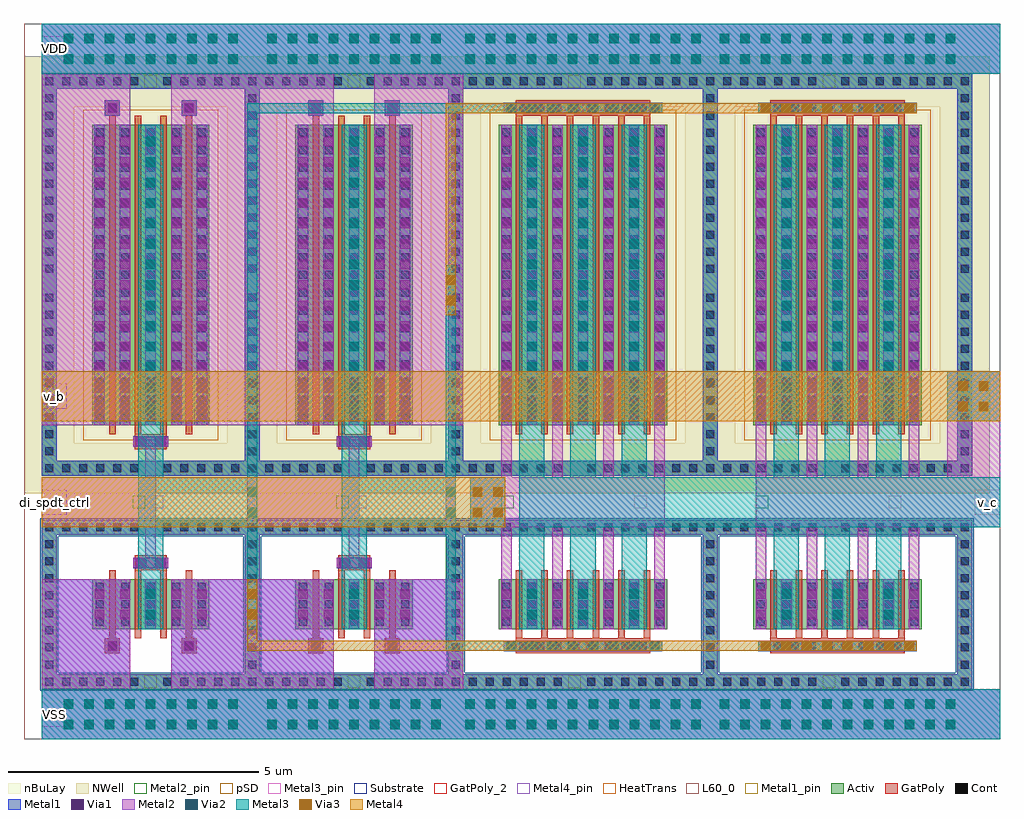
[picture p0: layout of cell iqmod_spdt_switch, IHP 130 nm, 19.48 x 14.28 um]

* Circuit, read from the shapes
.subckt iqmod_spdt_switch VDD VSS di_spdt_ctrl v_a v_b v_c
XM1 VSS VSS VSS VSS sg13_lv_nmos w=1u l=0.13u m=4
XM2 spdt_switch_tg_2/di_tg_ctrl di_spdt_ctrl VSS VSS sg13_lv_nmos w=1u l=0.13u m=2
XM3 spdt_switch_tg_1/di_tg_ctrl spdt_switch_tg_2/di_tg_ctrl VSS VSS sg13_lv_nmos w=1u l=0.13u m=2
XM4 v_c spdt_switch_tg_1/di_tg_ctrl v_a VSS sg13_lv_nmos w=1u l=0.13u m=6
XM5 v_c spdt_switch_tg_2/di_tg_ctrl v_b VSS sg13_lv_nmos w=1u l=0.13u m=6
XM6 VDD VDD VDD VDD sg13_lv_pmos w=6u l=0.13u m=4
XM7 spdt_switch_tg_2/di_tg_ctrl di_spdt_ctrl VDD VDD sg13_lv_pmos w=6u l=0.13u m=2
XM8 spdt_switch_tg_1/di_tg_ctrl spdt_switch_tg_2/di_tg_ctrl VDD VDD sg13_lv_pmos w=6u l=0.13u m=2
XM9 v_c spdt_switch_tg_2/di_tg_ctrl v_a VDD sg13_lv_pmos w=6u l=0.13u m=6
XM10 v_c spdt_switch_tg_1/di_tg_ctrl v_b VDD sg13_lv_pmos w=6u l=0.13u m=6
.ends

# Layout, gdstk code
from math import pi, radians
import gdstk
lib = gdstk.Library(unit=1e-6, precision=5e-09)
def R(c, l, rs):  # rectangles x0, y0, x1, y1
    for r in rs: c.add(gdstk.rectangle(r[:2], r[2:], *l))
def A(c, l, x, y, w, h, nx, ny, dx, dy):  # array of equal rectangles
    R(c, l, [(x+i*dx, y+j*dy, x+i*dx+w, y+j*dy+h) for i in range(nx) for j in range(ny)])
def P(c, l, *ps):  # polygons
    for p in ps: c.add(gdstk.Polygon(p, *l))
Activ = (1, 0)
GatPoly = (5, 0)
GatPoly_2 = (5, 2)
Cont = (6, 0)
Metal1 = (8, 0)
Metal1_pin = (8, 2)
Metal2 = (10, 0)
Metal2_pin = (10, 2)
pSD = (14, 0)
Via1 = (19, 0)
Via2 = (29, 0)
Metal3 = (30, 0)
Metal3_pin = (30, 2)
NWell = (31, 0)
nBuLay = (32, 0)
Substrate = (40, 0)
Via3 = (49, 0)
Metal4 = (50, 0)
Metal4_pin = (50, 2)
HeatTrans = (51, 0)
L60_0 = (60, 0)

nmos_54 = lib.new_cell('nmos$54')
A(nmos_54, Activ, 0, 0, 0.3, 0.3, 5, 1, 0.51, 0)
R(nmos_54, Activ, [(-1.01,-0.89,-0.71,1.89), (3.05,-0.89,3.35,1.89), (0,0,2.34,1), (-1.01,1.89,3.35,2.19)])
P(nmos_54, Activ, [(-1.01,-1.19),(-1.01,1.89),(-0.71,1.89),(-0.71,-0.89),(3.05,-0.89),(3.05,1.89),(-1.01,1.89),(-1.01,2.19),(3.35,2.19),(3.35,-1.19)])
A(nmos_54, GatPoly, 0.34, -0.18, 0.13, 1.36, 4, 1, 0.51, 0)
R(nmos_54, GatPoly_2, [(0.34,-0.18,0.47,1.18)])
A(nmos_54, Cont, -0.94, -1.12, 0.16, 0.16, 6, 2, 0.34, 3.08)
A(nmos_54, Cont, 1.42, -1.12, 0.16, 0.16, 6, 2, 0.34, 3.08)
A(nmos_54, Cont, -0.94, -0.78, 0.16, 0.16, 1, 4, 0, 0.34)
A(nmos_54, Cont, 3.12, -0.78, 0.16, 0.16, 1, 4, 0, 0.34)
A(nmos_54, Cont, 0.07, 0.07, 0.16, 0.16, 5, 3, 0.51, 0.35)
A(nmos_54, Cont, -0.94, 0.6, 0.16, 0.16, 1, 4, 0, 0.34)
A(nmos_54, Cont, 3.12, 0.6, 0.16, 0.16, 1, 4, 0, 0.34)
A(nmos_54, Metal1, 0.07, 0, 0.16, 1, 5, 1, 0.51, 0)
R(nmos_54, Metal1, [(-1.01,-1.19,3.35,-0.89), (-1.01,-0.89,-0.71,1.89), (3.05,-0.89,3.35,1.89), (-1.01,1.89,3.35,2.19)])
R(nmos_54, Metal1_pin, [(0.07,0,0.23,1), (0.58,0,0.74,1)])
R(nmos_54, pSD, [(-1.04,-0.86,-0.68,1.86), (3.02,-0.86,3.38,1.86), (-1.04,1.86,3.38,2.22)])
P(nmos_54, pSD, [(-1.04,-1.22),(-1.04,1.86),(-0.68,1.86),(-0.68,-0.86),(3.02,-0.86),(3.02,1.86),(-1.04,1.86),(-1.04,2.22),(3.38,2.22),(3.38,-1.22)])
R(nmos_54, Substrate, [(-1.04,-0.86,-0.68,1.86), (3.02,-0.86,3.38,1.86), (-1.04,1.86,3.38,2.22)])
P(nmos_54, Substrate, [(-1.04,-1.22),(-1.04,1.86),(-0.68,1.86),(-0.68,-0.86),(3.02,-0.86),(3.02,1.86),(-1.04,1.86),(-1.04,2.22),(3.38,2.22),(3.38,-1.22)])
A(nmos_54, HeatTrans, 0.34, -0.18, 0.13, 1.36, 4, 1, 0.51, 0)
nmos_54.add(gdstk.Label('nmos', (0.405,0.5), layer=63, texttype=0))
nmos_54.add(gdstk.Label('sub!', (1.17,-1.04), layer=63, texttype=0))
nmos_54.add(gdstk.Label('nmos', (0.405,0.5), layer=51, texttype=0))
nmos_54.add(gdstk.Label('nmos', (0.915,0.5), layer=51, texttype=0))
nmos_54.add(gdstk.Label('nmos', (1.425,0.5), layer=51, texttype=0))
nmos_54.add(gdstk.Label('nmos', (1.935,0.5), layer=51, texttype=0))

pmos_54 = lib.new_cell('pmos$54')
A(pmos_54, Activ, 0, 0, 0.3, 0.3, 5, 1, 0.51, 0)
R(pmos_54, Activ, [(-1.01,-0.71,-0.71,6.71), (3.05,-0.71,3.35,6.71), (0,0,2.34,6), (-1.01,6.71,3.35,7.01)])
P(pmos_54, Activ, [(-1.01,-1.01),(-1.01,6.71),(-0.71,6.71),(-0.71,-0.71),(3.05,-0.71),(3.05,6.71),(-1.01,6.71),(-1.01,7.01),(3.35,7.01),(3.35,-1.01)])
A(pmos_54, GatPoly, 0.34, -0.18, 0.13, 6.36, 4, 1, 0.51, 0)
R(pmos_54, GatPoly, [(0.34,-0.18,0.47,6.18)])
A(pmos_54, Cont, -0.94, -0.94, 0.16, 0.16, 6, 2, 0.34, 7.72)
A(pmos_54, Cont, 1.42, -0.94, 0.16, 0.16, 6, 2, 0.34, 7.72)
A(pmos_54, Cont, -0.94, -0.6, 0.16, 0.16, 1, 10, 0, 0.34)
A(pmos_54, Cont, 3.12, -0.6, 0.16, 0.16, 1, 10, 0, 0.34)
A(pmos_54, Cont, 0.07, 0.07, 0.16, 0.16, 5, 4, 0.51, 0.355)
A(pmos_54, Cont, 0.07, 1.495, 0.16, 0.16, 5, 4, 0.51, 0.355)
A(pmos_54, Cont, 0.07, 2.92, 0.16, 0.16, 5, 4, 0.51, 0.355)
A(pmos_54, Cont, -0.94, 3.04, 0.16, 0.16, 1, 11, 0, 0.34)
A(pmos_54, Cont, 3.12, 3.04, 0.16, 0.16, 1, 11, 0, 0.34)
A(pmos_54, Cont, 0.07, 4.345, 0.16, 0.16, 5, 4, 0.51, 0.355)
A(pmos_54, Cont, 0.07, 5.77, 0.16, 0.16, 5, 1, 0.51, 0)
A(pmos_54, Metal1, 0.58, 0, 0.16, 6, 4, 1, 0.51, 0)
R(pmos_54, Metal1, [(-1.01,-1.01,3.35,-0.71), (-1.01,-0.71,-0.71,6.71), (3.05,-0.71,3.35,6.71), (0.07,0,0.23,6), (0.07,0,0.23,6), (0.58,0,0.74,6), (-1.01,6.71,3.35,7.01)])
R(pmos_54, pSD, [(-0.18,-0.3,2.52,6.3)])
R(pmos_54, NWell, [(-1.36,-1.36,3.7,7.36), (-0.31,-0.31,2.65,6.31)])
R(pmos_54, nBuLay, [(-1.36,-0.36,-0.36,6.36), (2.7,-0.36,3.7,6.36), (-1.36,6.36,3.7,7.36)])
P(pmos_54, nBuLay, [(-1.36,-1.36),(-1.36,6.36),(-0.36,6.36),(-0.36,-0.36),(2.7,-0.36),(2.7,6.36),(-1.36,6.36),(-1.36,7.36),(3.7,7.36),(3.7,-1.36)])
R(pmos_54, Substrate, [(2.04,0,2.34,0.3)])
A(pmos_54, HeatTrans, 0.34, -0.18, 0.13, 6.36, 4, 1, 0.51, 0)
pmos_54.add(gdstk.Label('pmos', (0.405,3), layer=63, texttype=0))
pmos_54.add(gdstk.Label('well', (1.17,-0.86), layer=63, texttype=0))
pmos_54.add(gdstk.Label('pmos', (0.405,3), layer=51, texttype=0))
pmos_54.add(gdstk.Label('pmos', (0.915,3), layer=51, texttype=0))
pmos_54.add(gdstk.Label('pmos', (1.425,3), layer=51, texttype=0))
pmos_54.add(gdstk.Label('pmos', (1.935,3), layer=51, texttype=0))

via_stack_478 = lib.new_cell('via_stack$478')
R(via_stack_478, GatPoly, [(-0.32,-0.15,0.32,0.15)])
R(via_stack_478, Cont, [(-0.25,-0.08,-0.09,0.08), (0.09,-0.08,0.25,0.08)])
R(via_stack_478, Metal1, [(-0.35,-0.105,0.35,0.105)])
R(via_stack_478, Metal2, [(-0.35,-0.1,0.35,0.1)])
R(via_stack_478, Via1, [(-0.3,-0.095,-0.11,0.095), (0.11,-0.095,0.3,0.095)])

via_stack_479 = lib.new_cell('via_stack$479')
R(via_stack_479, GatPoly, [(-0.15,-0.15,0.15,0.15)])
R(via_stack_479, Cont, [(-0.08,-0.08,0.08,0.08)])
R(via_stack_479, Metal1, [(-0.145,-0.105,0.145,0.105)])
R(via_stack_479, Metal2, [(-0.145,-0.1,0.145,0.1)])
R(via_stack_479, Via1, [(-0.095,-0.095,0.095,0.095)])

via_stack_480 = lib.new_cell('via_stack$480')
R(via_stack_480, Metal1, [(-0.105,-0.35,0.105,0.35)])
R(via_stack_480, Metal2, [(-0.1,-0.35,0.1,0.35)])
R(via_stack_480, Via1, [(-0.095,-0.3,0.095,-0.11), (-0.095,0.11,0.095,0.3)])
R(via_stack_480, Via2, [(-0.095,-0.3,0.095,-0.11), (-0.095,0.11,0.095,0.3)])
R(via_stack_480, Metal3, [(-0.1,-0.35,0.1,0.35)])

via_stack_481 = lib.new_cell('via_stack$481')
R(via_stack_481, Metal1, [(-0.105,-2.81,0.105,2.81)])
R(via_stack_481, Metal2, [(-0.1,-2.81,0.1,2.81)])
A(via_stack_481, Via1, -0.095, -2.76, 0.19, 0.19, 1, 14, 0, 0.41)
A(via_stack_481, Via2, -0.095, -2.76, 0.19, 0.19, 1, 14, 0, 0.41)
R(via_stack_481, Metal3, [(-0.1,-2.81,0.1,2.81)])

via_stack_482 = lib.new_cell('via_stack$482')
R(via_stack_482, Metal1, [(-1.785,-0.31,1.785,0.31)])
R(via_stack_482, Metal2, [(-1.785,-0.305,1.785,0.305)])
A(via_stack_482, Via1, -1.735, -0.3, 0.19, 0.19, 9, 2, 0.41, 0.41)
A(via_stack_482, Via2, -1.735, -0.3, 0.19, 0.19, 9, 2, 0.41, 0.41)
R(via_stack_482, Metal3, [(-1.785,-0.305,1.785,0.305)])

via_stack_483 = lib.new_cell('via_stack$483')
R(via_stack_483, Metal1, [(-0.105,-0.35,0.105,0.35)])
R(via_stack_483, Metal2, [(-0.1,-0.35,0.1,0.35)])
R(via_stack_483, Via1, [(-0.095,-0.3,0.095,-0.11), (-0.095,0.11,0.095,0.3)])

via_stack_484 = lib.new_cell('via_stack$484')
R(via_stack_484, Metal1, [(-0.105,-2.81,0.105,2.81)])
R(via_stack_484, Metal2, [(-0.1,-2.81,0.1,2.81)])
A(via_stack_484, Via1, -0.095, -2.76, 0.19, 0.19, 1, 14, 0, 0.41)

spdt_switch_inv = lib.new_cell('spdt_switch_inv')
A(spdt_switch_inv, Metal1, 1.405, 6.27, 0.21, 6, 5, 1, 0.51, 0)
R(spdt_switch_inv, Metal1, [(0.35,0,4.71,1), (0.35,1,2.125,3.19), (2.28,1,2.78,1.3), (2.935,1,4.71,3.19), (1.615,1.71,1.915,2.01), (3.145,1.71,3.445,2.01), (2.425,2.19,2.635,3.19), (1.615,12.45,1.915,12.75), (3.145,12.45,3.445,12.75), (2.28,12.98,2.78,13.28), (0.35,13.28,4.71,14.28)])
R(spdt_switch_inv, Metal1_pin, [(2.405,1.025,2.655,1.275), (2.405,13.005,2.655,13.255)])
A(spdt_switch_inv, Metal2, 1.405, 6.27, 0.21, 6, 5, 1, 0.51, 0)
R(spdt_switch_inv, Metal2, [(0.35,0,4.71,1), (0.35,1,2.125,3.19), (2.935,1,4.71,3.19), (1.615,1.71,1.915,2.01), (3.145,1.71,3.445,2.01), (2.425,2.19,2.635,3.19), (2.425,3.62,2.635,5.84), (2.175,4.23,2.425,5.23), (0.35,6.27,2.125,13.28), (0.35,6.27,2.125,13.28), (2.935,6.27,4.71,13.28), (2.935,6.27,4.71,13.28), (1.615,12.45,1.915,12.75), (3.145,12.45,3.445,12.75), (0.35,13.28,4.71,14.28)])
R(spdt_switch_inv, Metal2_pin, [(2.175,4.605,2.425,4.855)])
R(spdt_switch_inv, Metal3, [(0.35,0,4.71,1), (2.28,2.19,2.78,12.27), (2.425,2.19,2.635,3.19), (2.28,4.23,2.78,5.23), (2.425,6.27,2.635,12.27), (0.35,13.28,4.71,14.28)])
P(spdt_switch_inv, Metal3, [(3.03,4.98),(3.03,4.98),(3.03,4.98),(3.03,4.98)])
R(spdt_switch_inv, Metal3_pin, [(2.53,4.605,2.78,4.855)])
spdt_switch_inv.add(gdstk.Reference(nmos_54, (1.36,2.19)))
spdt_switch_inv.add(gdstk.Reference(pmos_54, (1.36,6.27)))
spdt_switch_inv.add(gdstk.Reference(via_stack_478, (2.53,3.52)))
spdt_switch_inv.add(gdstk.Reference(via_stack_478, (2.53,5.94)))
spdt_switch_inv.add(gdstk.Reference(via_stack_479, (1.765,1.86)))
spdt_switch_inv.add(gdstk.Reference(via_stack_480, (2.53,2.69)))
spdt_switch_inv.add(gdstk.Reference(via_stack_479, (3.295,1.86)))
spdt_switch_inv.add(gdstk.Reference(via_stack_481, (2.53,9.27)))
spdt_switch_inv.add(gdstk.Reference(via_stack_482, (2.53,0.5)))
spdt_switch_inv.add(gdstk.Reference(via_stack_483, (3.55,2.69)))
spdt_switch_inv.add(gdstk.Reference(via_stack_483, (3.04,2.69)))
spdt_switch_inv.add(gdstk.Reference(via_stack_483, (2.02,2.69)))
spdt_switch_inv.add(gdstk.Reference(via_stack_483, (1.51,2.69)))
spdt_switch_inv.add(gdstk.Reference(via_stack_482, (2.53,13.78)))
spdt_switch_inv.add(gdstk.Reference(via_stack_479, (3.295,12.6), rotation=pi, x_reflection=True))
spdt_switch_inv.add(gdstk.Reference(via_stack_479, (1.765,12.6)))
spdt_switch_inv.add(gdstk.Reference(via_stack_484, (1.51,9.27)))
spdt_switch_inv.add(gdstk.Reference(via_stack_484, (3.55,9.27), rotation=pi, x_reflection=True))
spdt_switch_inv.add(gdstk.Reference(via_stack_484, (2.02,9.27)))
spdt_switch_inv.add(gdstk.Reference(via_stack_484, (3.04,9.27), rotation=pi, x_reflection=True))
spdt_switch_inv.add(gdstk.Label('vin', (2.3,4.73), layer=10, texttype=25))
spdt_switch_inv.add(gdstk.Label('VDD', (2.53,13.13), layer=8, texttype=25))
spdt_switch_inv.add(gdstk.Label('VSS', (2.53,1.15), layer=8, texttype=25))
spdt_switch_inv.add(gdstk.Label('vout', (2.655,4.73), layer=30, texttype=25))

pmos_55 = lib.new_cell('pmos$55')
A(pmos_55, Activ, 0, 0, 0.3, 0.3, 7, 1, 0.51, 0)
R(pmos_55, Activ, [(-1.01,-0.71,-0.71,6.71), (4.07,-0.71,4.37,6.71), (0,0,3.36,6), (-1.01,6.71,4.37,7.01)])
P(pmos_55, Activ, [(-1.01,-1.01),(-1.01,6.71),(-0.71,6.71),(-0.71,-0.71),(4.07,-0.71),(4.07,6.71),(-1.01,6.71),(-1.01,7.01),(4.37,7.01),(4.37,-1.01)])
A(pmos_55, GatPoly, 0.34, -0.18, 0.13, 6.36, 6, 1, 0.51, 0)
R(pmos_55, GatPoly, [(0.34,-0.18,0.47,6.18)])
A(pmos_55, Cont, -0.94, -0.94, 0.16, 0.16, 7, 2, 0.34, 7.72)
A(pmos_55, Cont, 1.76, -0.94, 0.16, 0.16, 8, 2, 0.34, 7.72)
A(pmos_55, Cont, -0.94, -0.6, 0.16, 0.16, 1, 10, 0, 0.34)
A(pmos_55, Cont, 4.14, -0.6, 0.16, 0.16, 1, 10, 0, 0.34)
A(pmos_55, Cont, 0.07, 0.07, 0.16, 0.16, 7, 4, 0.51, 0.355)
A(pmos_55, Cont, 0.07, 1.495, 0.16, 0.16, 7, 4, 0.51, 0.355)
A(pmos_55, Cont, 0.07, 2.92, 0.16, 0.16, 7, 4, 0.51, 0.355)
A(pmos_55, Cont, -0.94, 3.04, 0.16, 0.16, 1, 11, 0, 0.34)
A(pmos_55, Cont, 4.14, 3.04, 0.16, 0.16, 1, 11, 0, 0.34)
A(pmos_55, Cont, 0.07, 4.345, 0.16, 0.16, 7, 4, 0.51, 0.355)
A(pmos_55, Cont, 0.07, 5.77, 0.16, 0.16, 7, 1, 0.51, 0)
A(pmos_55, Metal1, 0.58, 0, 0.16, 6, 6, 1, 0.51, 0)
R(pmos_55, Metal1, [(-1.01,-1.01,4.37,-0.71), (-1.01,-0.71,-0.71,6.71), (4.07,-0.71,4.37,6.71), (0.07,0,0.23,6), (0.07,0,0.23,6), (0.58,0,0.74,6), (-1.01,6.71,4.37,7.01)])
R(pmos_55, pSD, [(-0.18,-0.3,3.54,6.3)])
R(pmos_55, NWell, [(-1.36,-1.36,4.72,7.36), (-0.31,-0.31,3.67,6.31)])
R(pmos_55, nBuLay, [(-1.36,-0.36,-0.36,6.36), (3.72,-0.36,4.72,6.36), (-1.36,6.36,4.72,7.36)])
P(pmos_55, nBuLay, [(-1.36,-1.36),(-1.36,6.36),(-0.36,6.36),(-0.36,-0.36),(3.72,-0.36),(3.72,6.36),(-1.36,6.36),(-1.36,7.36),(4.72,7.36),(4.72,-1.36)])
R(pmos_55, Substrate, [(3.06,0,3.36,0.3)])
A(pmos_55, HeatTrans, 0.34, -0.18, 0.13, 6.36, 6, 1, 0.51, 0)
pmos_55.add(gdstk.Label('pmos', (0.405,3), layer=63, texttype=0))
pmos_55.add(gdstk.Label('well', (1.68,-0.86), layer=63, texttype=0))
pmos_55.add(gdstk.Label('pmos', (0.405,3), layer=51, texttype=0))
pmos_55.add(gdstk.Label('pmos', (0.915,3), layer=51, texttype=0))
pmos_55.add(gdstk.Label('pmos', (1.425,3), layer=51, texttype=0))
pmos_55.add(gdstk.Label('pmos', (1.935,3), layer=51, texttype=0))
pmos_55.add(gdstk.Label('pmos', (2.445,3), layer=51, texttype=0))
pmos_55.add(gdstk.Label('pmos', (2.955,3), layer=51, texttype=0))

nmos_55 = lib.new_cell('nmos$55')
A(nmos_55, Activ, 0, 0, 0.3, 0.3, 7, 1, 0.51, 0)
R(nmos_55, Activ, [(-1.01,-0.89,-0.71,1.89), (4.07,-0.89,4.37,1.89), (0,0,3.36,1), (-1.01,1.89,4.37,2.19)])
P(nmos_55, Activ, [(-1.01,-1.19),(-1.01,1.89),(-0.71,1.89),(-0.71,-0.89),(4.07,-0.89),(4.07,1.89),(-1.01,1.89),(-1.01,2.19),(4.37,2.19),(4.37,-1.19)])
A(nmos_55, GatPoly, 0.34, -0.18, 0.13, 1.36, 6, 1, 0.51, 0)
R(nmos_55, GatPoly_2, [(0.34,-0.18,0.47,1.18)])
A(nmos_55, Cont, -0.94, -1.12, 0.16, 0.16, 7, 2, 0.34, 3.08)
A(nmos_55, Cont, 1.76, -1.12, 0.16, 0.16, 8, 2, 0.34, 3.08)
A(nmos_55, Cont, -0.94, -0.78, 0.16, 0.16, 1, 4, 0, 0.34)
A(nmos_55, Cont, 4.14, -0.78, 0.16, 0.16, 1, 4, 0, 0.34)
A(nmos_55, Cont, 0.07, 0.07, 0.16, 0.16, 7, 3, 0.51, 0.35)
A(nmos_55, Cont, -0.94, 0.6, 0.16, 0.16, 1, 4, 0, 0.34)
A(nmos_55, Cont, 4.14, 0.6, 0.16, 0.16, 1, 4, 0, 0.34)
A(nmos_55, Metal1, 0.07, 0, 0.16, 1, 7, 1, 0.51, 0)
R(nmos_55, Metal1, [(-1.01,-1.19,4.37,-0.89), (-1.01,-0.89,-0.71,1.89), (4.07,-0.89,4.37,1.89), (-1.01,1.89,4.37,2.19)])
R(nmos_55, Metal1_pin, [(0.07,0,0.23,1), (0.58,0,0.74,1)])
R(nmos_55, pSD, [(-1.04,-0.86,-0.68,1.86), (4.04,-0.86,4.4,1.86), (-1.04,1.86,4.4,2.22)])
P(nmos_55, pSD, [(-1.04,-1.22),(-1.04,1.86),(-0.68,1.86),(-0.68,-0.86),(4.04,-0.86),(4.04,1.86),(-1.04,1.86),(-1.04,2.22),(4.4,2.22),(4.4,-1.22)])
R(nmos_55, Substrate, [(-1.04,-0.86,-0.68,1.86), (4.04,-0.86,4.4,1.86), (-1.04,1.86,4.4,2.22)])
P(nmos_55, Substrate, [(-1.04,-1.22),(-1.04,1.86),(-0.68,1.86),(-0.68,-0.86),(4.04,-0.86),(4.04,1.86),(-1.04,1.86),(-1.04,2.22),(4.4,2.22),(4.4,-1.22)])
A(nmos_55, HeatTrans, 0.34, -0.18, 0.13, 1.36, 6, 1, 0.51, 0)
nmos_55.add(gdstk.Label('nmos', (0.405,0.5), layer=63, texttype=0))
nmos_55.add(gdstk.Label('sub!', (1.68,-1.04), layer=63, texttype=0))
nmos_55.add(gdstk.Label('nmos', (0.405,0.5), layer=51, texttype=0))
nmos_55.add(gdstk.Label('nmos', (0.915,0.5), layer=51, texttype=0))
nmos_55.add(gdstk.Label('nmos', (1.425,0.5), layer=51, texttype=0))
nmos_55.add(gdstk.Label('nmos', (1.935,0.5), layer=51, texttype=0))
nmos_55.add(gdstk.Label('nmos', (2.445,0.5), layer=51, texttype=0))
nmos_55.add(gdstk.Label('nmos', (2.955,0.5), layer=51, texttype=0))

via_stack_485 = lib.new_cell('via_stack$485')
R(via_stack_485, Metal1, [(-0.105,-0.35,0.105,0.35)])
R(via_stack_485, Metal2, [(-0.1,-0.35,0.1,0.35)])
R(via_stack_485, Via1, [(-0.095,-0.3,0.095,-0.11), (-0.095,0.11,0.095,0.3)])

via_stack_486 = lib.new_cell('via_stack$486')
R(via_stack_486, GatPoly, [(-1.34,-0.15,1.34,0.15)])
A(via_stack_486, Cont, -1.27, -0.08, 0.16, 0.16, 8, 1, 0.34, 0)
R(via_stack_486, Metal1, [(-1.58,-0.105,1.58,0.105)])
R(via_stack_486, Metal2, [(-1.58,-0.1,1.58,0.1)])
A(via_stack_486, Via1, -1.53, -0.095, 0.19, 0.19, 8, 1, 0.41, 0)

via_stack_487 = lib.new_cell('via_stack$487')
R(via_stack_487, Metal1, [(-0.105,-0.35,0.105,0.35)])
R(via_stack_487, Metal2, [(-0.1,-0.35,0.1,0.35)])
R(via_stack_487, Via1, [(-0.095,-0.3,0.095,-0.11), (-0.095,0.11,0.095,0.3)])
R(via_stack_487, Via2, [(-0.095,-0.3,0.095,-0.11), (-0.095,0.11,0.095,0.3)])
R(via_stack_487, Metal3, [(-0.1,-0.35,0.1,0.35)])

via_stack_488 = lib.new_cell('via_stack$488')
R(via_stack_488, Metal1, [(-2.4,-0.31,2.4,0.31)])
R(via_stack_488, Metal2, [(-2.4,-0.305,2.4,0.305)])
A(via_stack_488, Via1, -2.35, -0.3, 0.19, 0.19, 12, 2, 0.41, 0.41)
A(via_stack_488, Via2, -2.35, -0.3, 0.19, 0.19, 12, 2, 0.41, 0.41)
R(via_stack_488, Metal3, [(-2.4,-0.305,2.4,0.305)])

via_stack_489 = lib.new_cell('via_stack$489')
R(via_stack_489, Metal1, [(-0.105,-2.81,0.105,2.81)])
R(via_stack_489, Metal2, [(-0.1,-2.81,0.1,2.81)])
A(via_stack_489, Via1, -0.095, -2.76, 0.19, 0.19, 1, 14, 0, 0.41)
A(via_stack_489, Via2, -0.095, -2.76, 0.19, 0.19, 1, 14, 0, 0.41)
R(via_stack_489, Metal3, [(-0.1,-2.81,0.1,2.81)])

via_stack_490 = lib.new_cell('via_stack$490')
R(via_stack_490, Metal1, [(-0.105,-2.81,0.105,2.81)])
R(via_stack_490, Metal2, [(-0.1,-2.81,0.1,2.81)])
A(via_stack_490, Via1, -0.095, -2.76, 0.19, 0.19, 1, 14, 0, 0.41)

spdt_switch_tg = lib.new_cell('spdt_switch_tg')
A(spdt_switch_tg, Metal1, 2.425, 2.19, 0.21, 1, 3, 1, 0.51, 0)
A(spdt_switch_tg, Metal1, 3.445, 2.19, 0.21, 1, 3, 1, 0.51, 0)
A(spdt_switch_tg, Metal1, 1.405, 6.27, 0.21, 6, 7, 1, 0.51, 0)
R(spdt_switch_tg, Metal1, [(0.35,0,5.73,1), (2.62,1,3.12,1.3), (1.405,2.19,1.615,3.19), (1.405,2.19,1.615,3.19), (1.915,2.19,2.125,3.19), (1.915,2.19,2.125,3.19), (2.425,2.19,2.635,3.19), (4.465,2.19,4.675,3.19), (2.62,12.98,3.12,13.28), (0.35,13.28,5.73,14.28)])
R(spdt_switch_tg, Metal1_pin, [(2.745,1.025,2.995,1.275), (2.745,13.005,2.995,13.255)])
A(spdt_switch_tg, Metal2, 1.405, 2.19, 0.21, 1, 7, 1, 0.51, 0)
A(spdt_switch_tg, Metal2, 1.405, 3.19, 0.21, 3.08, 4, 1, 1.02, 0)
A(spdt_switch_tg, Metal2, 1.405, 6.27, 0.21, 6, 7, 1, 0.51, 0)
R(spdt_switch_tg, Metal2, [(0.35,0,5.73,1), (2.93,1.76,3.15,1.96), (1.405,4.23,3.655,5.23), (1.405,4.23,4.675,5.23), (2.93,12.5,3.15,12.7), (0.35,13.28,5.73,14.28)])
R(spdt_switch_tg, Metal2_pin, [(2.965,1.785,3.115,1.935), (1.405,4.605,1.655,4.855), (2.965,12.525,3.115,12.675)])
A(spdt_switch_tg, Metal3, 1.77, 2.19, 0.5, 10.08, 3, 1, 1.02, 0)
A(spdt_switch_tg, Metal3, 1.915, 2.19, 0.21, 1, 3, 1, 1.02, 0)
A(spdt_switch_tg, Metal3, 1.915, 6.27, 0.21, 6, 3, 1, 1.02, 0)
R(spdt_switch_tg, Metal3, [(0.35,0,5.73,1), (1.77,4.23,4.31,5.23), (0.35,13.28,5.73,14.28)])
R(spdt_switch_tg, Metal3_pin, [(4.06,4.605,4.31,4.855)])
spdt_switch_tg.add(gdstk.Reference(pmos_55, (1.36,6.27)))
spdt_switch_tg.add(gdstk.Reference(nmos_55, (1.36,2.19)))
spdt_switch_tg.add(gdstk.Reference(via_stack_485, (1.51,2.69)))
spdt_switch_tg.add(gdstk.Reference(via_stack_486, (3.04,1.86)))
spdt_switch_tg.add(gdstk.Reference(via_stack_487, (2.02,2.69)))
spdt_switch_tg.add(gdstk.Reference(via_stack_487, (3.04,2.69)))
spdt_switch_tg.add(gdstk.Reference(via_stack_487, (4.06,2.69)))
spdt_switch_tg.add(gdstk.Reference(via_stack_485, (2.53,2.69)))
spdt_switch_tg.add(gdstk.Reference(via_stack_485, (3.55,2.69)))
spdt_switch_tg.add(gdstk.Reference(via_stack_485, (4.57,2.69)))
spdt_switch_tg.add(gdstk.Reference(via_stack_488, (3.04,13.78)))
spdt_switch_tg.add(gdstk.Reference(via_stack_488, (3.04,0.5)))
spdt_switch_tg.add(gdstk.Reference(via_stack_486, (3.04,12.6)))
spdt_switch_tg.add(gdstk.Reference(via_stack_489, (4.06,9.27)))
spdt_switch_tg.add(gdstk.Reference(via_stack_490, (1.51,9.27)))
spdt_switch_tg.add(gdstk.Reference(via_stack_490, (3.55,9.27), rotation=pi, x_reflection=True))
spdt_switch_tg.add(gdstk.Reference(via_stack_490, (2.53,9.27)))
spdt_switch_tg.add(gdstk.Reference(via_stack_490, (4.57,9.27), rotation=pi, x_reflection=True))
spdt_switch_tg.add(gdstk.Reference(via_stack_489, (3.04,9.27)))
spdt_switch_tg.add(gdstk.Reference(via_stack_489, (2.02,9.27)))
spdt_switch_tg.add(gdstk.Label('di_tg_ctrl_n', (3.04,12.6), layer=10, texttype=25))
spdt_switch_tg.add(gdstk.Label('v_a', (1.53,4.73), layer=10, texttype=25))
spdt_switch_tg.add(gdstk.Label('di_tg_ctrl', (3.04,1.86), layer=10, texttype=25))
spdt_switch_tg.add(gdstk.Label('VDD', (2.87,13.13), layer=8, texttype=25))
spdt_switch_tg.add(gdstk.Label('VSS', (2.87,1.15), layer=8, texttype=25))
spdt_switch_tg.add(gdstk.Label('v_b', (4.185,4.73), layer=30, texttype=25))

via_28 = lib.new_cell('Via$28')
R(via_28, Metal2, [(-0.1,-0.5,0.1,0.5)])
R(via_28, Via2, [(-0.095,-0.3,0.095,-0.11), (-0.095,0.11,0.095,0.3)])
R(via_28, Metal3, [(-0.1,-0.5,0.1,0.5)])

via_28_1 = lib.new_cell('Via$28$1')
R(via_28_1, Metal3, [(-0.1,-0.5,0.1,0.5)])
R(via_28_1, Via3, [(-0.095,-0.3,0.095,-0.11), (-0.095,0.11,0.095,0.3)])
R(via_28_1, Metal4, [(-0.1,-0.5,0.1,0.5)])

via_stack_557 = lib.new_cell('via_stack$557')
R(via_stack_557, Metal2, [(-1.58,-0.1,1.58,0.1)])
A(via_stack_557, Via2, -1.53, -0.095, 0.19, 0.19, 8, 1, 0.41, 0)
R(via_stack_557, Metal3, [(-1.58,-0.1,1.58,0.1)])
A(via_stack_557, Via3, -1.53, -0.095, 0.19, 0.19, 8, 1, 0.41, 0)
R(via_stack_557, Metal4, [(-1.58,-0.1,1.58,0.1)])

via_stack_558 = lib.new_cell('via_stack$558')
R(via_stack_558, Metal2, [(-1.58,-0.1,1.58,0.1)])
A(via_stack_558, Via2, -1.53, -0.095, 0.19, 0.19, 8, 1, 0.41, 0)
R(via_stack_558, Metal3, [(-1.58,-0.1,1.58,0.1)])

via_stack_559 = lib.new_cell('via_stack$559')
R(via_stack_559, Metal2, [(-0.35,-0.305,0.35,0.305)])
R(via_stack_559, Via2, [(-0.3,-0.3,-0.11,-0.11), (0.11,-0.3,0.3,-0.11), (-0.3,0.11,-0.11,0.3), (0.11,0.11,0.3,0.3)])
R(via_stack_559, Metal3, [(-0.35,-0.305,0.35,0.305)])
R(via_stack_559, Via3, [(-0.3,-0.3,-0.11,-0.11), (0.11,-0.3,0.3,-0.11), (-0.3,0.11,-0.11,0.3), (0.11,0.11,0.3,0.3)])
R(via_stack_559, Metal4, [(-0.35,-0.305,0.35,0.305)])

iqmod_spdt_switch = lib.new_cell('iqmod_spdt_switch')
R(iqmod_spdt_switch, Metal1, [(18.93,0,19.485,1), (18.93,13.28,19.485,14.28)])
R(iqmod_spdt_switch, Metal2, [(18.93,0,19.485,1), (0.35,4.23,2.175,5.23), (4.66,4.23,6.235,5.23), (8.905,4.23,9.525,5.23), (17.875,4.23,19.485,5.23), (18.43,5.23,19.485,7.345), (18.43,6.345,19.485,7.345), (18.93,13.28,19.485,14.28)])
R(iqmod_spdt_switch, Metal2_pin, [(0.35,4.48,0.85,4.98)])
R(iqmod_spdt_switch, Metal3, [(18.93,0,19.485,1), (8.42,1.76,8.62,4.23), (8.62,1.76,9.58,1.96), (9.58,1.76,12.74,1.96), (14.66,1.76,17.82,1.96), (4.46,3.19,4.66,4.23), (2.78,4.23,4.46,5.23), (6.84,4.23,8.42,5.23), (8.905,4.23,9.605,5.23), (12.43,4.23,14.97,5.23), (17.51,4.23,19.485,5.23), (4.46,5.23,4.66,12.5), (8.42,5.23,8.62,8.46), (18.43,6.345,19.485,7.345), (4.46,12.5,9.58,12.7), (9.58,12.5,12.74,12.7), (14.66,12.5,17.82,12.7), (18.93,13.28,19.485,14.28)])
R(iqmod_spdt_switch, Metal3_pin, [(0.35,0.25,0.85,0.75), (18.985,4.48,19.485,4.98), (0.35,13.53,0.85,14.03)])
R(iqmod_spdt_switch, Metal4, [(4.46,1.76,14.66,1.96), (14.66,1.76,17.82,1.96), (4.46,1.96,4.66,2.19), (0.35,4.23,9.605,5.23), (8.905,4.23,9.605,5.23), (0.35,6.345,19.485,7.345), (18.43,6.345,19.485,7.345), (8.42,9.46,8.62,12.5), (8.42,12.5,14.66,12.7), (14.66,12.5,17.82,12.7)])
R(iqmod_spdt_switch, Metal4_pin, [(0.35,4.48,0.85,4.98), (0.35,6.595,0.85,7.095)])
R(iqmod_spdt_switch, L60_0, [(0,0,19.485,14.28)])
iqmod_spdt_switch.add(gdstk.Reference(spdt_switch_inv, (0,0)))
iqmod_spdt_switch.add(gdstk.Reference(spdt_switch_tg, (8.12,0)))
iqmod_spdt_switch.add(gdstk.Reference(spdt_switch_tg, (13.2,0)))
iqmod_spdt_switch.add(gdstk.Reference(via_28, (4.56,4.73)))
iqmod_spdt_switch.add(gdstk.Reference(spdt_switch_inv, (4.06,0)))
iqmod_spdt_switch.add(gdstk.Reference(via_28, (8.52,4.73)))
iqmod_spdt_switch.add(gdstk.Reference(via_28_1, (8.52,8.96)))
iqmod_spdt_switch.add(gdstk.Reference(via_stack_557, (16.24,12.6)))
iqmod_spdt_switch.add(gdstk.Reference(via_stack_558, (11.16,12.6)))
iqmod_spdt_switch.add(gdstk.Reference(via_stack_558, (11.16,1.86)))
iqmod_spdt_switch.add(gdstk.Reference(via_stack_557, (16.24,1.86)))
iqmod_spdt_switch.add(gdstk.Reference(via_28_1, (4.56,2.69)))
iqmod_spdt_switch.add(gdstk.Reference(via_stack_559, (9.255,4.73)))
iqmod_spdt_switch.add(gdstk.Reference(via_stack_559, (18.955,6.845)))
iqmod_spdt_switch.add(gdstk.Label('di_spdt_ctrl', (0.6,4.73), layer=10, texttype=25))
iqmod_spdt_switch.add(gdstk.Label('v_c', (19.235,4.73), layer=30, texttype=25))
iqmod_spdt_switch.add(gdstk.Label('VDD', (0.6,13.78), layer=30, texttype=25))
iqmod_spdt_switch.add(gdstk.Label('VSS', (0.6,0.5), layer=30, texttype=25))
iqmod_spdt_switch.add(gdstk.Label('v_a', (0.6,4.73), layer=50, texttype=25))
iqmod_spdt_switch.add(gdstk.Label('v_b', (0.6,6.845), layer=50, texttype=25))

lib.write_gds('iqmod_spdt_switch.gds')
